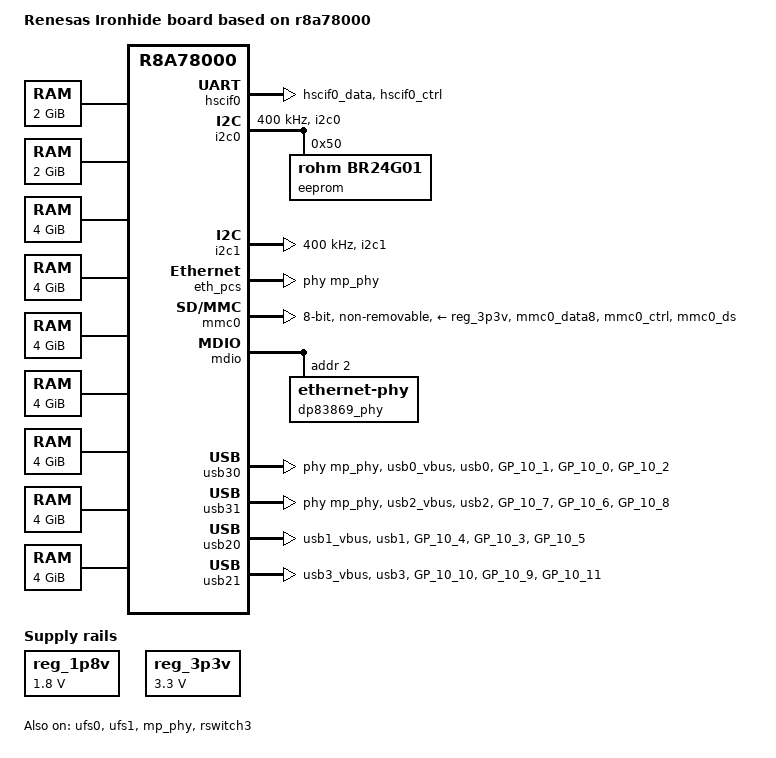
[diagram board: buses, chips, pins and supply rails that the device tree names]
// SPDX-License-Identifier: (GPL-2.0-only OR BSD-2-Clause)
/*
 * Device Tree Source for the Ironhide board
 *
 * Copyright (C) 2025 Renesas Electronics Corp.
 */

/dts-v1/;
#include "r8a78000.dtsi"
#include <dt-bindings/net/ti-dp83869.h>

/ {
	model = "Renesas Ironhide board based on r8a78000";
	compatible = "renesas,ironhide", "renesas,r8a78000";

	aliases {
		i2c0 = &i2c0;
		i2c1 = &i2c1;
		i2c2 = &i2c2;
		i2c3 = &i2c3;
		i2c4 = &i2c4;
		i2c5 = &i2c5;
		i2c6 = &i2c6;
		i2c7 = &i2c7;
		i2c8 = &i2c8;
		mmc0 = &mmc0;
		serial0 = &hscif0;
	};

	chosen {
		stdout-path = "serial0:1843200n8";
	};

	memory@40000000 {
		device_type = "memory";
		reg = <0x0 0x40000000 0x0 0x80000000>;
	};

	memory@1080000000 {
		device_type = "memory";
		reg = <0x10 0x80000000 0x0 0x80000000>;
	};

	memory@1200000000 {
		device_type = "memory";
		reg = <0x12 0x00000000 0x1 0x00000000>;
	};

	memory@1400000000 {
		device_type = "memory";
		reg = <0x14 0x00000000 0x1 0x00000000>;
	};

	memory@1600000000 {
		device_type = "memory";
		reg = <0x16 0x00000000 0x1 0x00000000>;
	};

	memory@1800000000 {
		device_type = "memory";
		reg = <0x18 0x00000000 0x1 0x00000000>;
	};

	memory@1a00000000 {
		device_type = "memory";
		reg = <0x1a 0x00000000 0x1 0x00000000>;
	};

	memory@1c00000000 {
		device_type = "memory";
		reg = <0x1c 0x00000000 0x1 0x00000000>;
	};

	memory@1e00000000 {
		device_type = "memory";
		reg = <0x1e 0x00000000 0x1 0x00000000>;
	};

	reserved-memory {
		#address-cells = <2>;
		#size-cells = <2>;
		ranges;

		ipl0: ipl0@40000000 {
			no-map;
			reg = <0x0 0x40000000 0x0 0xb800000>;
		};

		frtos_app: frtos_app@6b800000 {
			no-map;
			reg = <0x0 0x6b800000 0x0 0x1e800000>;
		};

		ipl1: ipl1@8b000000 {
			no-map;
			reg = <0x0 0x8b000000 0x0 0x3200000>;
		};

		ldr: ldr@8e200000 {
			no-map;
			reg = <0x0 0x8e200000 0x0 0x100000>;
		};

		cr52_ram0: cr52_ram0@96600000 {
			no-map;
			reg = <0x0 0x96600000 0x0 0x50000>;
		};

		cr52_ram1: cr52_ram1@96650000 {
			no-map;
			reg = <0x0 0x96650000 0x0 0x50000>;
		};

		cr52_ram2: cr52_ram2@966a0000 {
			no-map;
			reg = <0x0 0x966a0000 0x0 0x50000>;
		};

		cr52_ca720_share: cr52_ca720_share@966f0000 {
			no-map;
			reg = <0x0 0x966f0000 0x0 0x7f10000>;
		};

		ecc_data_region@10cccd0000 {
			no-map;
			reg = <0x10 0xcccd0000 0x0 0x33330000>;
		};

		ecc_data_region@12cccd0000 {
			no-map;
			reg = <0x12 0xcccd0000 0x0 0x33330000>;
		};

		ecc_data_region@14cccd0000 {
			no-map;
			reg = <0x14 0xcccd0000 0x0 0x33330000>;
		};

		ecc_data_region@16cccd0000 {
			no-map;
			reg = <0x16 0xcccd0000 0x0 0x33330000>;
		};

		ecc_data_region@18cccd0000 {
			no-map;
			reg = <0x18 0xcccd0000 0x0 0x33330000>;
		};

		ecc_data_region@1acccd0000 {
			no-map;
			reg = <0x1a 0xcccd0000 0x0 0x33330000>;
		};

		ecc_data_region@1ccccd0000 {
			no-map;
			reg = <0x1c 0xcccd0000 0x0 0x33330000>;
		};

		ecc_data_region@1ecccd0000 {
			no-map;
			reg = <0x1e 0xcccd0000 0x0 0x33330000>;
		};
	};

	reg_1p8v: regulator-1p8v {
		compatible = "regulator-fixed";
		regulator-name = "fixed-1.8V";
		regulator-min-microvolt = <1800000>;
		regulator-max-microvolt = <1800000>;
		regulator-boot-on;
		regulator-always-on;
	};

	reg_3p3v: regulator-3p3v {
		compatible = "regulator-fixed";
		regulator-name = "fixed-3.3V";
		regulator-min-microvolt = <3300000>;
		regulator-max-microvolt = <3300000>;
		regulator-boot-on;
		regulator-always-on;
	};
};

&extal_clk {
	clock-frequency = <16666600>;
};

&extalr_clk {
	clock-frequency = <32768>;
};

&hscif0 {
	pinctrl-0 = <&hscif0_pins>;
	pinctrl-names = "default";
	uart-has-rtscts;
	status = "okay";
};

&i2c0 {
	pinctrl-0 = <&i2c0_pins>;
	pinctrl-names = "default";
	clock-frequency = <400000>;
	status = "okay";

	eeprom@50 {
		compatible = "rohm,br24g01", "atmel,24c01";
		reg = <0x50>;
		pagesize = <8>;
	};
};

&i2c1 {
	pinctrl-0 = <&i2c1_pins>;
	pinctrl-names = "default";
	clock-frequency = <400000>;
	status = "okay";
};

&eth_pcs {
	phys = <&mp_phy 2 1>;
	status = "okay";
};

&mmc0 {
	pinctrl-0 = <&mmc0_pins>;
	pinctrl-1 = <&mmc0_pins>;
	pinctrl-names = "default", "state_uhs";

	bus-width = <8>;
	full-pwr-cycle-in-suspend;
	mmc-hs200-1_8v;
	mmc-hs400-1_8v;
	no-sd;
	no-sdio;
	non-removable;

	vmmc-supply = <&reg_3p3v>;
	vqmmc-supply = <&reg_1p8v>;

	status = "okay";
};

&ufs0 {
	status = "okay";
};

&ufs1 {
	status = "okay";
};

&mp_phy {
	status = "okay";
};

&pfc {
	pinctrl-0 = <&scif_clk_pins>;
	pinctrl-names = "default";

	eth25g2_pins: eth25g2 {
		groups = "eth25g2_mdio", "eth25g2_link", "eth25g2_phyint";
		function = "eth25g2";
		drive-strength = <24>;
	};

	ethes0_pins: ethes0 {
		groups = "ethes0_match", "ethes0_capture", "ethes0_pps";
		function = "ethes0";
		drive-strength = <24>;
	};

	hscif0_pins: hscif0 {
		groups = "hscif0_data", "hscif0_ctrl";
		function = "hscif0";
	};

	i2c0_pins: i2c0 {
		groups = "i2c0";
		function = "i2c0";
	};

	i2c1_pins: i2c1 {
		groups = "i2c1";
		function = "i2c1";
	};

	mmc0_pins: mmc0 {
		groups = "mmc0_data8", "mmc0_ctrl", "mmc0_ds";
		function = "mmc0";
		drive-strength = <24>;
	};

	rsw3_pins: rsw3 {
		groups = "rsw3_match", "rsw3_capture", "rsw3_pps";
		function = "rsw3";
		drive-strength = <24>;
	};

	scif_clk_pins: scif-clk {
		groups = "scif_clk";
		function = "scif_clk";
	};

	usb30_pins: usb0 {
		//groups = "usb0_vbus", "usb0";
		//function = "usb0";
		mux {
			groups = "usb0_vbus", "usb0";
			function = "usb0";
		};

		ovc {
			pins = "GP_10_1";
			bias-pull-down;
		};

		pwen {
			pins = "GP_10_0";
			bias-pull-up;
		};

		vbus {
			pins = "GP_10_2";
			bias-pull-up;
		};
	};

	usb20_pins: usb1 {
		//groups = "usb1_vbus", "usb1";
		//function = "usb1";
		mux {
			groups = "usb1_vbus", "usb1";
			function = "usb1";
		};

		ovc {
			pins = "GP_10_4";
			bias-pull-down;
		};

		pwen {
			pins = "GP_10_3";
			bias-pull-up;
		};

		vbus {
			pins = "GP_10_5";
			bias-pull-up;
		};
	};

	usb31_pins: usb2 {
		//groups = "usb2_vbus", "usb2";
		//function = "usb2";
		mux {
			groups = "usb2_vbus", "usb2";
			function = "usb2";
		};

		ovc {
			pins = "GP_10_7";
			bias-pull-down;
		};

		pwen {
			pins = "GP_10_6";
			bias-pull-up;
		};

		vbus {
			pins = "GP_10_8";
			bias-pull-up;
		};
	};

	usb21_pins: usb3 {
		//groups = "usb3_vbus", "usb3";
		//function = "usb3";
		mux {
			groups = "usb3_vbus", "usb3";
			function = "usb3";
		};

		ovc {
			pins = "GP_10_10";
			bias-pull-down;
		};

		pwen {
			pins = "GP_10_9";
			bias-pull-up;
		};

		vbus {
			pins = "GP_10_11";
			bias-pull-up;
		};
	};
};

&rswitch3 {
	pinctrl-0 = <&rsw3_pins>, <&eth25g2_pins>, <&ethes0_pins>;
	pinctrl-names = "default";
	status = "okay";

	ethernet-ports {
		#address-cells = <1>;
		#size-cells = <0>;

		/*
		 * NOTE: Only port@4 is configured for R-Car X5H board.
		 * Other ports (0-3, 5-12) are currently unused or not
		 * connected.
		 */
		port@4 {
			reg = <4>;
			renesas,connect_to_xpcs;
			phy-handle = <&dp83869_phy>;
			phy-mode = "sgmii";
			phys = <&eth_pcs 5>;

			mdio {
				#address-cells = <1>;
				#size-cells = <0>;

				dp83869_phy: ethernet-phy@2 {
					reg = <2>;
					ti,sgmii-interface;
					ti,max-output-impedance;
					ti,refclk-output-enable;
					ti,clk-output-sel = <DP83869_CLK_O_SEL_REF_CLK>;
				};
			};
		};
	};
};

&scif_clk {
	clock-frequency = <26000000>;
};

&usb30 {
	status = "okay";
	pinctrl-0 = <&usb30_pins>;
	pinctrl-names = "default";
	phys = <&mp_phy 3 0>;
	phy-names = "usb3-phy";

	dwc3_usb30@c8800000 {
		compatible = "synopsys,dwc3", "snps,dwc3";
		reg = <0x0 0xc8800000 0x0 0x100000>;
		interrupts = <GIC_SPI 795 IRQ_TYPE_LEVEL_HIGH>;
		maximum-speed = "high-speed";
		dr_mode = "host";
	};
};

&usb31 {
	status = "okay";
	pinctrl-0 = <&usb31_pins>;
	pinctrl-names = "default";
	phys = <&mp_phy 3 1>;
	phy-names = "usb3-phy";

	dwc3_usb31@c8a00000 {
		compatible = "synopsys,dwc3", "snps,dwc3";
		reg = <0x0 0xc8a00000 0x0 0x100000>;
		interrupts = <GIC_SPI 797 IRQ_TYPE_LEVEL_HIGH>;
		maximum-speed = "super-speed-plus";
		dr_mode = "host";

		snps,host-vbus-glitches-quirk;
	};
};

&usb20 {
	status = "okay";
	pinctrl-0 = <&usb20_pins>;
	pinctrl-names = "default";

	dwc3_usb20@c8900000 {
		compatible = "synopsys,dwc3", "snps,dwc3";
		reg = <0x0 0xc8900000 0x0 0x100000>;
		interrupts = <GIC_SPI 796 IRQ_TYPE_LEVEL_HIGH>;
		maximum-speed = "high-speed";
		dr_mode = "host";
	};
};

&usb21 {
	status = "okay";
	pinctrl-0 = <&usb21_pins>;
	pinctrl-names = "default";

	dwc3_usb21@c8b00000 {
		compatible = "synopsys,dwc3", "snps,dwc3";
		reg = <0x0 0xc8b00000 0x0 0x100000>;
		interrupts = <GIC_SPI 798 IRQ_TYPE_LEVEL_HIGH>;
		maximum-speed = "high-speed";
		dr_mode = "host";
	};
};
